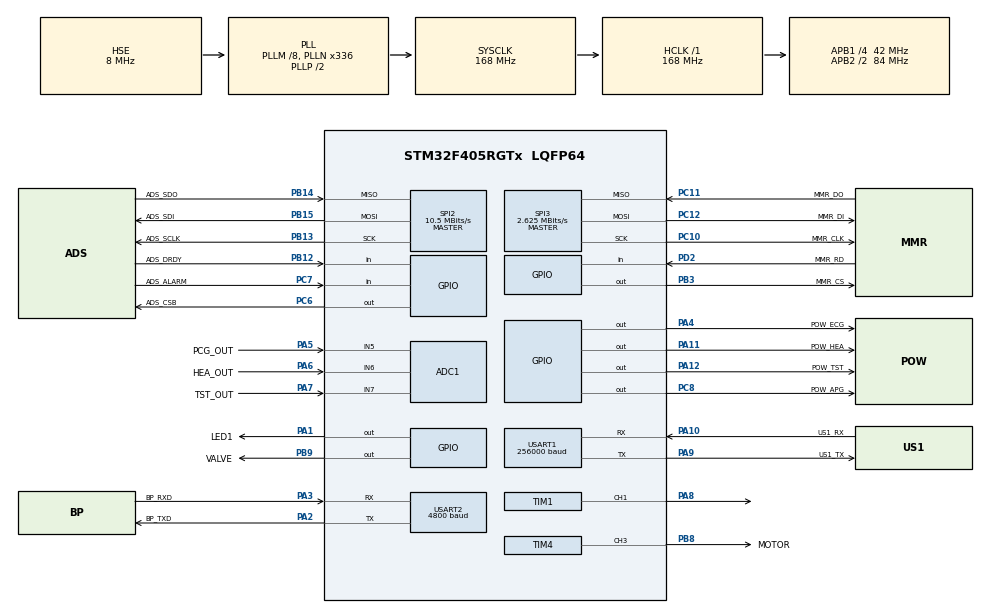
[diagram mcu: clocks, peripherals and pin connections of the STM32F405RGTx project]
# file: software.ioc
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ADC1.Channel-1\#ChannelRegularConversion=ADC_CHANNEL_6
ADC1.Channel-2\#ChannelRegularConversion=ADC_CHANNEL_5
ADC1.Channel-3\#ChannelRegularConversion=ADC_CHANNEL_7
ADC1.DMAContinuousRequests=ENABLE
ADC1.NbrOfConversion=3
ADC1.NbrOfConversionFlag=1
ADC1.Rank-1\#ChannelRegularConversion=1
ADC1.Rank-2\#ChannelRegularConversion=2
ADC1.Rank-3\#ChannelRegularConversion=3
ADC1.SamplingTime-1\#ChannelRegularConversion=ADC_SAMPLETIME_56CYCLES
ADC1.SamplingTime-2\#ChannelRegularConversion=ADC_SAMPLETIME_56CYCLES
ADC1.SamplingTime-3\#ChannelRegularConversion=ADC_SAMPLETIME_56CYCLES
ADC1.master=1
Dma.ADC1.4.Direction=DMA_PERIPH_TO_MEMORY
Dma.ADC1.4.FIFOMode=DMA_FIFOMODE_DISABLE
Dma.ADC1.4.Instance=DMA2_Stream0
Dma.ADC1.4.MemDataAlignment=DMA_MDATAALIGN_HALFWORD
Dma.ADC1.4.MemInc=DMA_MINC_ENABLE
Dma.ADC1.4.Mode=DMA_NORMAL
Dma.ADC1.4.PeriphDataAlignment=DMA_PDATAALIGN_HALFWORD
Dma.ADC1.4.PeriphInc=DMA_PINC_DISABLE
Dma.ADC1.4.Priority=DMA_PRIORITY_MEDIUM
Dma.Request0=USART1_RX
Dma.Request1=USART1_TX
Dma.Request2=SPI2_RX
Dma.Request3=SPI2_TX
Dma.Request4=ADC1
Dma.Request5=USART2_RX
Dma.Request6=USART2_TX
Dma.SPI2_RX.2.Direction=DMA_PERIPH_TO_MEMORY
Dma.SPI2_RX.2.FIFOMode=DMA_FIFOMODE_DISABLE
Dma.SPI2_RX.2.Instance=DMA1_Stream3
Dma.SPI2_RX.2.MemDataAlignment=DMA_MDATAALIGN_BYTE
Dma.SPI2_RX.2.MemInc=DMA_MINC_ENABLE
Dma.SPI2_RX.2.Mode=DMA_NORMAL
Dma.SPI2_RX.2.PeriphDataAlignment=DMA_PDATAALIGN_BYTE
Dma.SPI2_RX.2.PeriphInc=DMA_PINC_DISABLE
Dma.SPI2_RX.2.Priority=DMA_PRIORITY_MEDIUM
Dma.SPI2_TX.3.Direction=DMA_MEMORY_TO_PERIPH
Dma.SPI2_TX.3.FIFOMode=DMA_FIFOMODE_DISABLE
Dma.SPI2_TX.3.Instance=DMA1_Stream4
Dma.SPI2_TX.3.MemDataAlignment=DMA_MDATAALIGN_BYTE
Dma.SPI2_TX.3.MemInc=DMA_MINC_ENABLE
Dma.SPI2_TX.3.Mode=DMA_NORMAL
Dma.SPI2_TX.3.PeriphDataAlignment=DMA_PDATAALIGN_BYTE
Dma.SPI2_TX.3.PeriphInc=DMA_PINC_DISABLE
Dma.SPI2_TX.3.Priority=DMA_PRIORITY_MEDIUM
Dma.USART1_RX.0.Direction=DMA_PERIPH_TO_MEMORY
Dma.USART1_RX.0.FIFOMode=DMA_FIFOMODE_DISABLE
Dma.USART1_RX.0.Instance=DMA2_Stream2
Dma.USART1_RX.0.MemDataAlignment=DMA_MDATAALIGN_BYTE
Dma.USART1_RX.0.MemInc=DMA_MINC_ENABLE
Dma.USART1_RX.0.Mode=DMA_CIRCULAR
Dma.USART1_RX.0.PeriphDataAlignment=DMA_PDATAALIGN_BYTE
Dma.USART1_RX.0.PeriphInc=DMA_PINC_DISABLE
Dma.USART1_RX.0.Priority=DMA_PRIORITY_HIGH
Dma.USART1_TX.1.Direction=DMA_MEMORY_TO_PERIPH
Dma.USART1_TX.1.FIFOMode=DMA_FIFOMODE_DISABLE
Dma.USART1_TX.1.Instance=DMA2_Stream7
Dma.USART1_TX.1.MemDataAlignment=DMA_MDATAALIGN_BYTE
Dma.USART1_TX.1.MemInc=DMA_MINC_ENABLE
Dma.USART1_TX.1.Mode=DMA_NORMAL
Dma.USART1_TX.1.PeriphDataAlignment=DMA_PDATAALIGN_BYTE
Dma.USART1_TX.1.PeriphInc=DMA_PINC_DISABLE
Dma.USART1_TX.1.Priority=DMA_PRIORITY_HIGH
Dma.USART2_RX.5.Direction=DMA_PERIPH_TO_MEMORY
Dma.USART2_RX.5.FIFOMode=DMA_FIFOMODE_DISABLE
Dma.USART2_RX.5.Instance=DMA1_Stream5
Dma.USART2_RX.5.MemDataAlignment=DMA_MDATAALIGN_BYTE
Dma.USART2_RX.5.MemInc=DMA_MINC_ENABLE
Dma.USART2_RX.5.Mode=DMA_CIRCULAR
Dma.USART2_RX.5.PeriphDataAlignment=DMA_PDATAALIGN_BYTE
Dma.USART2_RX.5.PeriphInc=DMA_PINC_DISABLE
Dma.USART2_RX.5.Priority=DMA_PRIORITY_MEDIUM
Dma.USART2_TX.6.Direction=DMA_MEMORY_TO_PERIPH
Dma.USART2_TX.6.FIFOMode=DMA_FIFOMODE_DISABLE
Dma.USART2_TX.6.Instance=DMA1_Stream6
Dma.USART2_TX.6.MemDataAlignment=DMA_MDATAALIGN_BYTE
Dma.USART2_TX.6.MemInc=DMA_MINC_ENABLE
Dma.USART2_TX.6.Mode=DMA_NORMAL
Dma.USART2_TX.6.PeriphDataAlignment=DMA_PDATAALIGN_BYTE
Dma.USART2_TX.6.PeriphInc=DMA_PINC_DISABLE
Dma.USART2_TX.6.Priority=DMA_PRIORITY_MEDIUM
Mcu.Family=STM32F4
Mcu.Name=STM32F405RGTx
Mcu.Package=LQFP64
NVIC.DMA1_Stream3_IRQn=true\:0\:0\:false\:false\:true\:false\:true\:true
NVIC.DMA1_Stream4_IRQn=true\:0\:0\:false\:false\:true\:false\:true\:true
NVIC.DMA1_Stream5_IRQn=true\:0\:0\:false\:false\:true\:false\:true\:true
NVIC.DMA1_Stream6_IRQn=true\:0\:0\:false\:false\:true\:false\:true\:true
NVIC.DMA2_Stream0_IRQn=true\:0\:0\:false\:false\:true\:false\:true\:true
NVIC.DMA2_Stream2_IRQn=true\:0\:0\:false\:false\:true\:false\:true\:true
NVIC.DMA2_Stream7_IRQn=true\:0\:0\:false\:false\:true\:false\:true\:true
NVIC.PriorityGroup=NVIC_PRIORITYGROUP_4
NVIC.TIM2_IRQn=true\:0\:0\:false\:false\:true\:true\:true\:true
NVIC.USART1_IRQn=true\:0\:0\:false\:false\:true\:true\:true\:true
NVIC.USART2_IRQn=true\:0\:0\:false\:false\:true\:true\:true\:true
PA1.GPIO_Label=LED1
PA1.GPIO_Speed=GPIO_SPEED_FREQ_VERY_HIGH
PA1.PinState=GPIO_PIN_RESET
PA1.Signal=GPIO_Output
PA10.GPIO_Label=US1_RX
PA10.Mode=Asynchronous
PA10.Signal=USART1_RX
PA11.GPIO_Label=POW_HEA
PA11.GPIO_Speed=GPIO_SPEED_FREQ_VERY_HIGH
PA11.PinState=GPIO_PIN_SET
PA11.Signal=GPIO_Output
PA12.GPIO_Label=POW_TST
PA12.GPIO_Speed=GPIO_SPEED_FREQ_VERY_HIGH
PA12.PinState=GPIO_PIN_SET
PA12.Signal=GPIO_Output
PA13.Mode=Serial_Wire
PA13.Signal=SYS_JTMS-SWDIO
PA14.Mode=Serial_Wire
PA14.Signal=SYS_JTCK-SWCLK
PA2.GPIO_Label=BP_TXD
PA2.Mode=Asynchronous
PA2.Signal=USART2_TX
PA3.GPIO_Label=BP_RXD
PA3.Mode=Asynchronous
PA3.Signal=USART2_RX
PA4.GPIO_Label=POW_ECG
PA4.GPIO_Speed=GPIO_SPEED_FREQ_VERY_HIGH
PA4.PinState=GPIO_PIN_SET
PA4.Signal=GPIO_Output
PA5.GPIO_Label=PCG_OUT
PA5.Signal=ADCx_IN5
PA6.GPIO_Label=HEA_OUT
PA6.Signal=ADCx_IN6
PA7.GPIO_Label=TST_OUT
PA7.Signal=ADCx_IN7
PA8.Signal=S_TIM1_CH1
PA9.GPIO_Label=US1_TX
PA9.Mode=Asynchronous
PA9.Signal=USART1_TX
PB12.GPIO_Label=ADS_DRDY
PB12.GPIO_PuPd=GPIO_PULLUP
PB12.Signal=GPIO_Input
PB13.GPIO_Label=ADS_SCLK
PB13.Mode=Full_Duplex_Master
PB13.Signal=SPI2_SCK
PB14.GPIO_Label=ADS_SDO
PB14.Mode=Full_Duplex_Master
PB14.Signal=SPI2_MISO
PB15.GPIO_Label=ADS_SDI
PB15.Mode=Full_Duplex_Master
PB15.Signal=SPI2_MOSI
PB3.GPIO_Label=MMR_CS
PB3.GPIO_Speed=GPIO_SPEED_FREQ_VERY_HIGH
PB3.PinState=GPIO_PIN_SET
PB3.Signal=GPIO_Output
PB8.GPIO_Label=MOTOR
PB8.Signal=S_TIM4_CH3
PB9.GPIO_Label=VALVE
PB9.GPIO_Speed=GPIO_SPEED_FREQ_VERY_HIGH
PB9.PinState=GPIO_PIN_SET
PB9.Signal=GPIO_Output
PC10.GPIO_Label=MMR_CLK
PC10.Mode=Full_Duplex_Master
PC10.Signal=SPI3_SCK
PC11.GPIO_Label=MMR_DO
PC11.Mode=Full_Duplex_Master
PC11.Signal=SPI3_MISO
PC12.GPIO_Label=MMR_DI
PC12.Mode=Full_Duplex_Master
PC12.Signal=SPI3_MOSI
PC6.GPIO_Label=ADS_CSB
PC6.GPIO_Speed=GPIO_SPEED_FREQ_VERY_HIGH
PC6.PinState=GPIO_PIN_SET
PC6.Signal=GPIO_Output
PC7.GPIO_Label=ADS_ALARM
PC7.GPIO_PuPd=GPIO_PULLUP
PC7.Signal=GPIO_Input
PC8.GPIO_Label=POW_APG
PC8.GPIO_Speed=GPIO_SPEED_FREQ_VERY_HIGH
PC8.PinState=GPIO_PIN_SET
PC8.Signal=GPIO_Output
PD2.GPIO_Label=MMR_RD
PD2.GPIO_PuPd=GPIO_PULLUP
PD2.Signal=GPIO_Input
PH0-OSC_IN.Mode=HSE-External-Oscillator
PH0-OSC_IN.Signal=RCC_OSC_IN
PH1-OSC_OUT.Mode=HSE-External-Oscillator
PH1-OSC_OUT.Signal=RCC_OSC_OUT
ProjectManager.HeapSize=0x200
ProjectManager.StackSize=0x400
ProjectManager.TargetToolchain=MDK-ARM V5
RCC.48MHZClocksFreq_Value=84000000
RCC.AHBFreq_Value=168000000
RCC.APB1CLKDivider=RCC_HCLK_DIV4
RCC.APB1Freq_Value=42000000
RCC.APB1TimFreq_Value=84000000
RCC.APB2CLKDivider=RCC_HCLK_DIV2
RCC.APB2Freq_Value=84000000
RCC.APB2TimFreq_Value=168000000
RCC.CortexFreq_Value=168000000
RCC.HCLKFreq_Value=168000000
RCC.HSE_VALUE=8000000
RCC.HSI_VALUE=16000000
RCC.LSE_VALUE=32768
RCC.PLLM=8
RCC.PLLN=336
RCC.PLLSourceVirtual=RCC_PLLSOURCE_HSE
RCC.SYSCLKFreq_VALUE=168000000
RCC.SYSCLKSource=RCC_SYSCLKSOURCE_PLLCLK
RCC.VCOOutputFreq_Value=336000000
SH.ADCx_IN5.0=ADC1_IN5,IN5
SH.ADCx_IN6.0=ADC1_IN6,IN6
SH.ADCx_IN7.0=ADC1_IN7,IN7
SH.S_TIM1_CH1.0=TIM1_CH1,PWM Generation1 CH1
SH.S_TIM4_CH3.0=TIM4_CH3,PWM Generation3 CH3
SPI2.BaudRatePrescaler=SPI_BAUDRATEPRESCALER_4
SPI2.CalculateBaudRate=10.5 MBits/s
SPI2.Direction=SPI_DIRECTION_2LINES
SPI2.Mode=SPI_MODE_MASTER
SPI2.VirtualType=VM_MASTER
SPI3.BaudRatePrescaler=SPI_BAUDRATEPRESCALER_16
SPI3.CalculateBaudRate=2.625 MBits/s
SPI3.Direction=SPI_DIRECTION_2LINES
SPI3.Mode=SPI_MODE_MASTER
SPI3.VirtualType=VM_MASTER
TIM1.AutoReloadPreload=TIM_AUTORELOAD_PRELOAD_ENABLE
TIM1.Channel-PWM\ Generation1\ CH1=TIM_CHANNEL_1
TIM1.Period=409
TIM1.Pulse-PWM\ Generation1\ CH1=205
TIM2.AutoReloadPreload=TIM_AUTORELOAD_PRELOAD_ENABLE
TIM2.Period=2015
TIM2.Prescaler=49
TIM4.AutoReloadPreload=TIM_AUTORELOAD_PRELOAD_ENABLE
TIM4.Channel-PWM\ Generation3\ CH3=TIM_CHANNEL_3
TIM4.Period=65535
TIM4.Prescaler=0
USART1.BaudRate=256000
USART1.VirtualMode=VM_ASYNC
USART2.BaudRate=4800
USART2.VirtualMode=VM_ASYNC
VP_TIM1_VS_ClockSourceINT.Mode=Internal
VP_TIM2_VS_ClockSourceINT.Mode=Internal
board=custom

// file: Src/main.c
/* USER CODE BEGIN Header */
/**
  ******************************************************************************
  * @file           : main.c
  * @brief          : Main program body
  ******************************************************************************
  * @attention
  *
  * <h2><center>&copy; Copyright (c) 2020 STMicroelectronics.
  * All rights reserved.</center></h2>
  *
  * This software component is licensed by ST under BSD 3-Clause license,
  * the "License"; You may not use this file except in compliance with the
  * License. You may obtain a copy of the License at:
  *                        opensource.org/licenses/BSD-3-Clause
  *
  ******************************************************************************
  */
/* USER CODE END Header */
#include "main.h"

/* USER CODE BEGIN Includes */
#include "ecg.h"
#include "protocol.h"
#include "mmr901mx.h"
#include "nibp_if.h"
/* USER CODE END Includes */

ADC_HandleTypeDef hadc1;
DMA_HandleTypeDef hdma_adc1;

SPI_HandleTypeDef hspi2;
SPI_HandleTypeDef hspi3;
DMA_HandleTypeDef hdma_spi2_rx;
DMA_HandleTypeDef hdma_spi2_tx;

TIM_HandleTypeDef htim1;
TIM_HandleTypeDef htim2;
TIM_HandleTypeDef htim4;

UART_HandleTypeDef huart1;
UART_HandleTypeDef huart2;
DMA_HandleTypeDef hdma_usart1_rx;
DMA_HandleTypeDef hdma_usart1_tx;
DMA_HandleTypeDef hdma_usart2_rx;
DMA_HandleTypeDef hdma_usart2_tx;

/* USER CODE BEGIN PV */
static void BP_GPIO_Init(void);

/* USER CODE END PV */

void SystemClock_Config(void);
static void MX_GPIO_Init(void);
static void MX_DMA_Init(void);
static void MX_ADC1_Init(void);
static void MX_SPI2_Init(void);
static void MX_SPI3_Init(void);
static void MX_TIM4_Init(void);
static void MX_USART1_UART_Init(void);
static void MX_USART2_UART_Init(void);
static void MX_TIM2_Init(void);
static void MX_TIM1_Init(void);
/* USER CODE BEGIN PFP */
uint8_t status;
/* USER CODE END PFP */

int main(void)
{

  /* MCU Configuration--------------------------------------------------------*/

  /* Reset of all peripherals, Initializes the Flash interface and the Systick. */
  HAL_Init();

  /* Configure the system clock */
  SystemClock_Config();

  /* Initialize all configured peripherals */
  MX_GPIO_Init();
  MX_DMA_Init();
  MX_ADC1_Init();
  MX_SPI2_Init();
  MX_SPI3_Init();
  MX_TIM4_Init();
  MX_USART1_UART_Init();
  MX_USART2_UART_Init();
  MX_TIM2_Init();
  MX_TIM1_Init();
  /* USER CODE BEGIN 2 */
  BP_GPIO_Init();//add by zm 2023.12.26
  bp_pwr_ctrl(OFF);//add by zm 2023.12.26
  HAL_GPIO_WritePin(LED1_GPIO_Port, LED1_Pin, GPIO_PIN_SET);
  HAL_Delay(5000);
  HAL_GPIO_WritePin(LED1_GPIO_Port, LED1_Pin, GPIO_PIN_RESET);
  protocol_init();
  ecg_init();
  MMR901MX_Init();
  nibp_if_init();
  /* USER CODE END 2 */

  /* Infinite loop */
  /* USER CODE BEGIN WHILE */
  while (1)
  {
//   status = getRegister(0x19);
//   if(status&0x08)
//   {
//     WriteRegister(0x14, 0x00);
//   }
//   else
//     WriteRegister(0x14, 0x01);

    protocol_process();
    MMR_process();
    nibp_if_process();
    /* USER CODE END WHILE */

  }
}

void SystemClock_Config(void)
{
  RCC_OscInitTypeDef RCC_OscInitStruct = {0};
  RCC_ClkInitTypeDef RCC_ClkInitStruct = {0};

  /** Configure the main internal regulator output voltage
  */
  __HAL_RCC_PWR_CLK_ENABLE();
  __HAL_PWR_VOLTAGESCALING_CONFIG(PWR_REGULATOR_VOLTAGE_SCALE1);

  /** Initializes the RCC Oscillators according to the specified parameters
  * in the RCC_OscInitTypeDef structure.
  */
  RCC_OscInitStruct.OscillatorType = RCC_OSCILLATORTYPE_HSE;
  RCC_OscInitStruct.HSEState = RCC_HSE_ON;
  RCC_OscInitStruct.PLL.PLLState = RCC_PLL_ON;
  RCC_OscInitStruct.PLL.PLLSource = RCC_PLLSOURCE_HSE;
  RCC_OscInitStruct.PLL.PLLM = 8;
  RCC_OscInitStruct.PLL.PLLN = 336;
  RCC_OscInitStruct.PLL.PLLP = RCC_PLLP_DIV2;
  RCC_OscInitStruct.PLL.PLLQ = 4;
  if (HAL_RCC_OscConfig(&RCC_OscInitStruct) != HAL_OK)
  {
    Error_Handler();
  }

  /** Initializes the CPU, AHB and APB buses clocks
  */
  RCC_ClkInitStruct.ClockType = RCC_CLOCKTYPE_HCLK|RCC_CLOCKTYPE_SYSCLK
                              |RCC_CLOCKTYPE_PCLK1|RCC_CLOCKTYPE_PCLK2;
  RCC_ClkInitStruct.SYSCLKSource = RCC_SYSCLKSOURCE_PLLCLK;
  RCC_ClkInitStruct.AHBCLKDivider = RCC_SYSCLK_DIV1;
  RCC_ClkInitStruct.APB1CLKDivider = RCC_HCLK_DIV4;
  RCC_ClkInitStruct.APB2CLKDivider = RCC_HCLK_DIV2;

  if (HAL_RCC_ClockConfig(&RCC_ClkInitStruct, FLASH_LATENCY_5) != HAL_OK)
  {
    Error_Handler();
  }
}

static void MX_ADC1_Init(void)
{

  ADC_ChannelConfTypeDef sConfig = {0};

  /** Configure the global features of the ADC (Clock, Resolution, Data Alignment and number of conversion)
  */
  hadc1.Instance = ADC1;
  hadc1.Init.ClockPrescaler = ADC_CLOCK_SYNC_PCLK_DIV4;
  hadc1.Init.Resolution = ADC_RESOLUTION_12B;
  hadc1.Init.ScanConvMode = ENABLE;
  hadc1.Init.ContinuousConvMode = DISABLE;
  hadc1.Init.DiscontinuousConvMode = DISABLE;
  hadc1.Init.ExternalTrigConvEdge = ADC_EXTERNALTRIGCONVEDGE_NONE;
  hadc1.Init.ExternalTrigConv = ADC_SOFTWARE_START;
  hadc1.Init.DataAlign = ADC_DATAALIGN_RIGHT;
  hadc1.Init.NbrOfConversion = 3;
  hadc1.Init.DMAContinuousRequests = ENABLE;
  hadc1.Init.EOCSelection = ADC_EOC_SINGLE_CONV;
  if (HAL_ADC_Init(&hadc1) != HAL_OK)
  {
    Error_Handler();
  }

  /** Configure for the selected ADC regular channel its corresponding rank in the sequencer and its sample time.
  */
  sConfig.Channel = ADC_CHANNEL_6;
  sConfig.Rank = 1;
  sConfig.SamplingTime = ADC_SAMPLETIME_56CYCLES;
  if (HAL_ADC_ConfigChannel(&hadc1, &sConfig) != HAL_OK)
  {
    Error_Handler();
  }

  /** Configure for the selected ADC regular channel its corresponding rank in the sequencer and its sample time.
  */
  sConfig.Channel = ADC_CHANNEL_5;
  sConfig.Rank = 2;
  if (HAL_ADC_ConfigChannel(&hadc1, &sConfig) != HAL_OK)
  {
    Error_Handler();
  }

  /** Configure for the selected ADC regular channel its corresponding rank in the sequencer and its sample time.
  */
  sConfig.Channel = ADC_CHANNEL_7;
  sConfig.Rank = 3;
  if (HAL_ADC_ConfigChannel(&hadc1, &sConfig) != HAL_OK)
  {
    Error_Handler();
  }

}

static void MX_SPI2_Init(void)
{

  /* SPI2 parameter configuration*/
  hspi2.Instance = SPI2;
  hspi2.Init.Mode = SPI_MODE_MASTER;
  hspi2.Init.Direction = SPI_DIRECTION_2LINES;
  hspi2.Init.DataSize = SPI_DATASIZE_8BIT;
  hspi2.Init.CLKPolarity = SPI_POLARITY_LOW;
  hspi2.Init.CLKPhase = SPI_PHASE_1EDGE;
  hspi2.Init.NSS = SPI_NSS_SOFT;
  hspi2.Init.BaudRatePrescaler = SPI_BAUDRATEPRESCALER_4;
  hspi2.Init.FirstBit = SPI_FIRSTBIT_MSB;
  hspi2.Init.TIMode = SPI_TIMODE_DISABLE;
  hspi2.Init.CRCCalculation = SPI_CRCCALCULATION_DISABLE;
  hspi2.Init.CRCPolynomial = 10;
  if (HAL_SPI_Init(&hspi2) != HAL_OK)
  {
    Error_Handler();
  }

}

static void MX_SPI3_Init(void)
{

  /* SPI3 parameter configuration*/
  hspi3.Instance = SPI3;
  hspi3.Init.Mode = SPI_MODE_MASTER;
  hspi3.Init.Direction = SPI_DIRECTION_2LINES;
  hspi3.Init.DataSize = SPI_DATASIZE_8BIT;
  hspi3.Init.CLKPolarity = SPI_POLARITY_LOW;
  hspi3.Init.CLKPhase = SPI_PHASE_1EDGE;
  hspi3.Init.NSS = SPI_NSS_SOFT;
  hspi3.Init.BaudRatePrescaler = SPI_BAUDRATEPRESCALER_16;
  hspi3.Init.FirstBit = SPI_FIRSTBIT_MSB;
  hspi3.Init.TIMode = SPI_TIMODE_DISABLE;
  hspi3.Init.CRCCalculation = SPI_CRCCALCULATION_DISABLE;
  hspi3.Init.CRCPolynomial = 10;
  if (HAL_SPI_Init(&hspi3) != HAL_OK)
  {
    Error_Handler();
  }

}

static void MX_TIM1_Init(void)
{

  TIM_ClockConfigTypeDef sClockSourceConfig = {0};
  TIM_MasterConfigTypeDef sMasterConfig = {0};
  TIM_OC_InitTypeDef sConfigOC = {0};
  TIM_BreakDeadTimeConfigTypeDef sBreakDeadTimeConfig = {0};

  htim1.Instance = TIM1;
  htim1.Init.Prescaler = 0;
  htim1.Init.CounterMode = TIM_COUNTERMODE_UP;
  htim1.Init.Period = 409;
  htim1.Init.ClockDivision = TIM_CLOCKDIVISION_DIV1;
  htim1.Init.RepetitionCounter = 0;
  htim1.Init.AutoReloadPreload = TIM_AUTORELOAD_PRELOAD_ENABLE;
  if (HAL_TIM_Base_Init(&htim1) != HAL_OK)
  {
    Error_Handler();
  }
  sClockSourceConfig.ClockSource = TIM_CLOCKSOURCE_INTERNAL;
  if (HAL_TIM_ConfigClockSource(&htim1, &sClockSourceConfig) != HAL_OK)
  {
    Error_Handler();
  }
  if (HAL_TIM_PWM_Init(&htim1) != HAL_OK)
  {
    Error_Handler();
  }
  sMasterConfig.MasterOutputTrigger = TIM_TRGO_RESET;
  sMasterConfig.MasterSlaveMode = TIM_MASTERSLAVEMODE_DISABLE;
  if (HAL_TIMEx_MasterConfigSynchronization(&htim1, &sMasterConfig) != HAL_OK)
  {
    Error_Handler();
  }
  sConfigOC.OCMode = TIM_OCMODE_PWM1;
  sConfigOC.Pulse = 205;
  sConfigOC.OCPolarity = TIM_OCPOLARITY_HIGH;
  sConfigOC.OCNPolarity = TIM_OCNPOLARITY_HIGH;
  sConfigOC.OCFastMode = TIM_OCFAST_DISABLE;
  sConfigOC.OCIdleState = TIM_OCIDLESTATE_RESET;
  sConfigOC.OCNIdleState = TIM_OCNIDLESTATE_RESET;
  if (HAL_TIM_PWM_ConfigChannel(&htim1, &sConfigOC, TIM_CHANNEL_1) != HAL_OK)
  {
    Error_Handler();
  }
  sBreakDeadTimeConfig.OffStateRunMode = TIM_OSSR_DISABLE;
  sBreakDeadTimeConfig.OffStateIDLEMode = TIM_OSSI_DISABLE;
  sBreakDeadTimeConfig.LockLevel = TIM_LOCKLEVEL_OFF;
  sBreakDeadTimeConfig.DeadTime = 0;
  sBreakDeadTimeConfig.BreakState = TIM_BREAK_DISABLE;
  sBreakDeadTimeConfig.BreakPolarity = TIM_BREAKPOLARITY_HIGH;
  sBreakDeadTimeConfig.AutomaticOutput = TIM_AUTOMATICOUTPUT_DISABLE;
  if (HAL_TIMEx_ConfigBreakDeadTime(&htim1, &sBreakDeadTimeConfig) != HAL_OK)
  {
    Error_Handler();
  }
  HAL_TIM_MspPostInit(&htim1);

}

static void MX_TIM2_Init(void)
{

  TIM_ClockConfigTypeDef sClockSourceConfig = {0};
  TIM_MasterConfigTypeDef sMasterConfig = {0};

  htim2.Instance = TIM2;
  htim2.Init.Prescaler = 49;
  htim2.Init.CounterMode = TIM_COUNTERMODE_UP;
  htim2.Init.Period = 2015;
  htim2.Init.ClockDivision = TIM_CLOCKDIVISION_DIV1;
  htim2.Init.AutoReloadPreload = TIM_AUTORELOAD_PRELOAD_ENABLE;
  if (HAL_TIM_Base_Init(&htim2) != HAL_OK)
  {
    Error_Handler();
  }
  sClockSourceConfig.ClockSource = TIM_CLOCKSOURCE_INTERNAL;
  if (HAL_TIM_ConfigClockSource(&htim2, &sClockSourceConfig) != HAL_OK)
  {
    Error_Handler();
  }
  sMasterConfig.MasterOutputTrigger = TIM_TRGO_RESET;
  sMasterConfig.MasterSlaveMode = TIM_MASTERSLAVEMODE_DISABLE;
  if (HAL_TIMEx_MasterConfigSynchronization(&htim2, &sMasterConfig) != HAL_OK)
  {
    Error_Handler();
  }

}

static void MX_TIM4_Init(void)
{

  TIM_MasterConfigTypeDef sMasterConfig = {0};
  TIM_OC_InitTypeDef sConfigOC = {0};

  htim4.Instance = TIM4;
  htim4.Init.Prescaler = 0;
  htim4.Init.CounterMode = TIM_COUNTERMODE_UP;
  htim4.Init.Period = 65535;
  htim4.Init.ClockDivision = TIM_CLOCKDIVISION_DIV1;
  htim4.Init.AutoReloadPreload = TIM_AUTORELOAD_PRELOAD_ENABLE;
  if (HAL_TIM_PWM_Init(&htim4) != HAL_OK)
  {
    Error_Handler();
  }
  sMasterConfig.MasterOutputTrigger = TIM_TRGO_RESET;
  sMasterConfig.MasterSlaveMode = TIM_MASTERSLAVEMODE_DISABLE;
  if (HAL_TIMEx_MasterConfigSynchronization(&htim4, &sMasterConfig) != HAL_OK)
  {
    Error_Handler();
  }
  sConfigOC.OCMode = TIM_OCMODE_PWM1;
  sConfigOC.Pulse = 0;
  sConfigOC.OCPolarity = TIM_OCPOLARITY_HIGH;
  sConfigOC.OCFastMode = TIM_OCFAST_DISABLE;
  if (HAL_TIM_PWM_ConfigChannel(&htim4, &sConfigOC, TIM_CHANNEL_3) != HAL_OK)
  {
    Error_Handler();
  }
  HAL_TIM_MspPostInit(&htim4);

}

static void MX_USART1_UART_Init(void)
{

  huart1.Instance = USART1;
  huart1.Init.BaudRate = 256000;
  huart1.Init.WordLength = UART_WORDLENGTH_8B;
  huart1.Init.StopBits = UART_STOPBITS_1;
  huart1.Init.Parity = UART_PARITY_NONE;
  huart1.Init.Mode = UART_MODE_TX_RX;
  huart1.Init.HwFlowCtl = UART_HWCONTROL_NONE;
  huart1.Init.OverSampling = UART_OVERSAMPLING_16;
  if (HAL_UART_Init(&huart1) != HAL_OK)
  {
    Error_Handler();
  }

}

static void MX_USART2_UART_Init(void)
{

  huart2.Instance = USART2;
  huart2.Init.BaudRate = 4800;
  huart2.Init.WordLength = UART_WORDLENGTH_8B;
  huart2.Init.StopBits = UART_STOPBITS_1;
  huart2.Init.Parity = UART_PARITY_NONE;
  huart2.Init.Mode = UART_MODE_TX_RX;
  huart2.Init.HwFlowCtl = UART_HWCONTROL_NONE;
  huart2.Init.OverSampling = UART_OVERSAMPLING_16;
  if (HAL_UART_Init(&huart2) != HAL_OK)
  {
    Error_Handler();
  }

}

static void MX_DMA_Init(void)
{

  /* DMA controller clock enable */
  __HAL_RCC_DMA2_CLK_ENABLE();
  __HAL_RCC_DMA1_CLK_ENABLE();

  /* DMA interrupt init */
  /* DMA1_Stream3_IRQn interrupt configuration */
  HAL_NVIC_SetPriority(DMA1_Stream3_IRQn, 0, 0);
  HAL_NVIC_EnableIRQ(DMA1_Stream3_IRQn);
  /* DMA1_Stream4_IRQn interrupt configuration */
  HAL_NVIC_SetPriority(DMA1_Stream4_IRQn, 0, 0);
  HAL_NVIC_EnableIRQ(DMA1_Stream4_IRQn);
  /* DMA1_Stream5_IRQn interrupt configuration */
  HAL_NVIC_SetPriority(DMA1_Stream5_IRQn, 0, 0);
  HAL_NVIC_EnableIRQ(DMA1_Stream5_IRQn);
  /* DMA1_Stream6_IRQn interrupt configuration */
  HAL_NVIC_SetPriority(DMA1_Stream6_IRQn, 0, 0);
  HAL_NVIC_EnableIRQ(DMA1_Stream6_IRQn);
  /* DMA2_Stream0_IRQn interrupt configuration */
  HAL_NVIC_SetPriority(DMA2_Stream0_IRQn, 0, 0);
  HAL_NVIC_EnableIRQ(DMA2_Stream0_IRQn);
  /* DMA2_Stream2_IRQn interrupt configuration */
  HAL_NVIC_SetPriority(DMA2_Stream2_IRQn, 0, 0);
  HAL_NVIC_EnableIRQ(DMA2_Stream2_IRQn);
  /* DMA2_Stream7_IRQn interrupt configuration */
  HAL_NVIC_SetPriority(DMA2_Stream7_IRQn, 0, 0);
  HAL_NVIC_EnableIRQ(DMA2_Stream7_IRQn);

}

static void MX_GPIO_Init(void)
{
  GPIO_InitTypeDef GPIO_InitStruct = {0};

  /* GPIO Ports Clock Enable */
  __HAL_RCC_GPIOH_CLK_ENABLE();
  __HAL_RCC_GPIOA_CLK_ENABLE();
  __HAL_RCC_GPIOB_CLK_ENABLE();
  __HAL_RCC_GPIOC_CLK_ENABLE();
  __HAL_RCC_GPIOD_CLK_ENABLE();

  /*Configure GPIO pin Output Level */
  HAL_GPIO_WritePin(LED1_GPIO_Port, LED1_Pin, GPIO_PIN_RESET);

  /*Configure GPIO pin Output Level */
  HAL_GPIO_WritePin(GPIOA, POW_ECG_Pin|POW_HEA_Pin|POW_TST_Pin, GPIO_PIN_SET);

  /*Configure GPIO pin Output Level */
  HAL_GPIO_WritePin(GPIOC, ADS_CSB_Pin|POW_APG_Pin, GPIO_PIN_SET);

  /*Configure GPIO pin Output Level */
  HAL_GPIO_WritePin(GPIOB, MMR_CS_Pin|VALVE_Pin, GPIO_PIN_SET);

  /*Configure GPIO pins : LED1_Pin POW_ECG_Pin POW_HEA_Pin POW_TST_Pin */
  GPIO_InitStruct.Pin = LED1_Pin|POW_ECG_Pin|POW_HEA_Pin|POW_TST_Pin;
  GPIO_InitStruct.Mode = GPIO_MODE_OUTPUT_PP;
  GPIO_InitStruct.Pull = GPIO_NOPULL;
  GPIO_InitStruct.Speed = GPIO_SPEED_FREQ_VERY_HIGH;
  HAL_GPIO_Init(GPIOA, &GPIO_InitStruct);

  /*Configure GPIO pin : ADS_DRDY_Pin */
  GPIO_InitStruct.Pin = ADS_DRDY_Pin;
  GPIO_InitStruct.Mode = GPIO_MODE_INPUT;
  GPIO_InitStruct.Pull = GPIO_PULLUP;
  HAL_GPIO_Init(ADS_DRDY_GPIO_Port, &GPIO_InitStruct);

  /*Configure GPIO pins : ADS_CSB_Pin POW_APG_Pin */
  GPIO_InitStruct.Pin = ADS_CSB_Pin|POW_APG_Pin;
  GPIO_InitStruct.Mode = GPIO_MODE_OUTPUT_PP;
  GPIO_InitStruct.Pull = GPIO_NOPULL;
  GPIO_InitStruct.Speed = GPIO_SPEED_FREQ_VERY_HIGH;
  HAL_GPIO_Init(GPIOC, &GPIO_InitStruct);

  /*Configure GPIO pin : ADS_ALARM_Pin */
  GPIO_InitStruct.Pin = ADS_ALARM_Pin;
  GPIO_InitStruct.Mode = GPIO_MODE_INPUT;
  GPIO_InitStruct.Pull = GPIO_PULLUP;
  HAL_GPIO_Init(ADS_ALARM_GPIO_Port, &GPIO_InitStruct);

  /*Configure GPIO pin : MMR_RD_Pin */
  GPIO_InitStruct.Pin = MMR_RD_Pin;
  GPIO_InitStruct.Mode = GPIO_MODE_INPUT;
  GPIO_InitStruct.Pull = GPIO_PULLUP;
  HAL_GPIO_Init(MMR_RD_GPIO_Port, &GPIO_InitStruct);

  /*Configure GPIO pins : MMR_CS_Pin VALVE_Pin */
  GPIO_InitStruct.Pin = MMR_CS_Pin|VALVE_Pin;
  GPIO_InitStruct.Mode = GPIO_MODE_OUTPUT_PP;
  GPIO_InitStruct.Pull = GPIO_NOPULL;
  GPIO_InitStruct.Speed = GPIO_SPEED_FREQ_VERY_HIGH;
  HAL_GPIO_Init(GPIOB, &GPIO_InitStruct);

}

/* USER CODE BEGIN 4 */

static void BP_GPIO_Init(void)
{
  GPIO_InitTypeDef GPIO_InitStruct = {0};

  __HAL_RCC_GPIOB_CLK_ENABLE();

  /*Configure GPIO pin Output Level */
  HAL_GPIO_WritePin(BP_POWER_EN_GPIO_Port, BP_POWER_EN_Pin, GPIO_PIN_RESET);

  /*Configure GPIO pins : MMR_CS_Pin VALVE_Pin */
  GPIO_InitStruct.Pin = BP_POWER_EN_Pin;
  GPIO_InitStruct.Mode = GPIO_MODE_OUTPUT_PP;
  GPIO_InitStruct.Pull = GPIO_NOPULL;
  GPIO_InitStruct.Speed = GPIO_SPEED_FREQ_VERY_HIGH;
  HAL_GPIO_Init(BP_POWER_EN_GPIO_Port, &GPIO_InitStruct);

}

/* USER CODE END 4 */

void Error_Handler(void)
{
}
